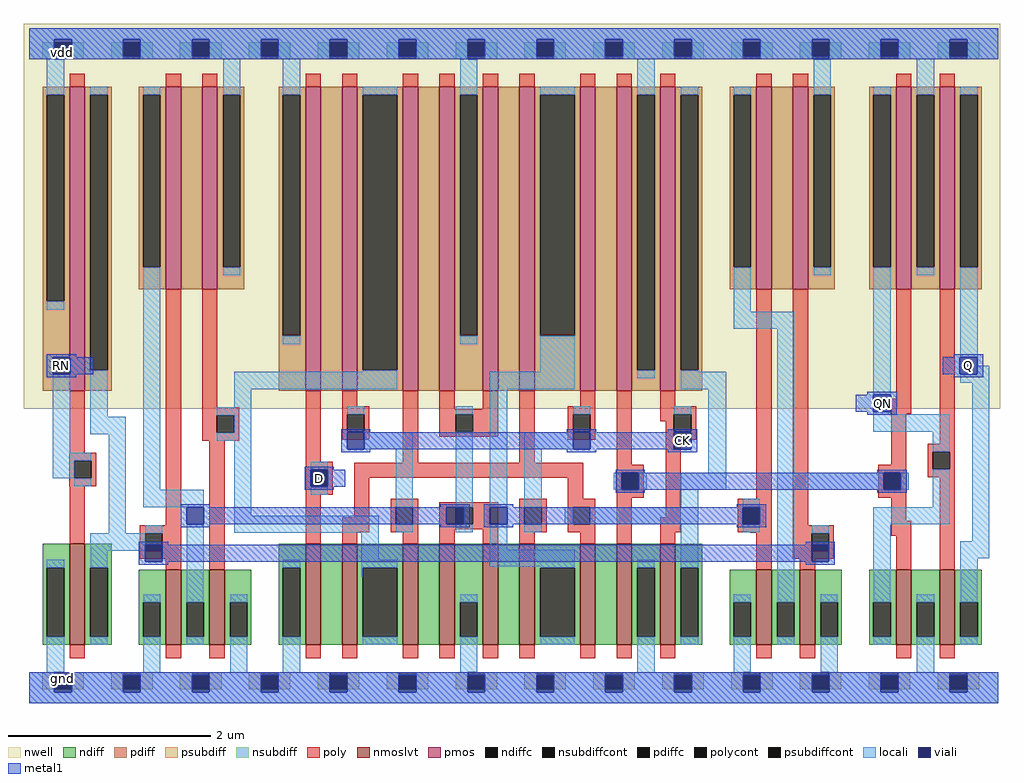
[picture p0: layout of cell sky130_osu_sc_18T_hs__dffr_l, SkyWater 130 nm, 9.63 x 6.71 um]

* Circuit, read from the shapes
.subckt sky130_osu_sc_18T_hs__dffr_l RN D CK Q QN
XM1 n1 RN gnd gnd sky130_fd_pr__nfet_01v8_lvt w=1 l=0.15
XM2 n2 n1 gnd gnd sky130_fd_pr__nfet_01v8_lvt w=0.74 l=0.15
XM3 gnd n3 n2 gnd sky130_fd_pr__nfet_01v8_lvt w=0.74 l=0.15
XM4 n4 D gnd gnd sky130_fd_pr__nfet_01v8_lvt w=1 l=0.15
XM5 n3 n5 n4 gnd sky130_fd_pr__nfet_01v8_lvt w=1 l=0.15
XM6 n6 CK n3 gnd sky130_fd_pr__nfet_01v8_lvt w=1 l=0.15
XM7 gnd n2 n6 gnd sky130_fd_pr__nfet_01v8_lvt w=1 l=0.15
XM8 n7 n2 gnd gnd sky130_fd_pr__nfet_01v8_lvt w=1 l=0.15
XM9 n8 CK n7 gnd sky130_fd_pr__nfet_01v8_lvt w=1 l=0.15
XM10 n9 n5 n8 gnd sky130_fd_pr__nfet_01v8_lvt w=1 l=0.15
XM11 gnd n10 n9 gnd sky130_fd_pr__nfet_01v8_lvt w=1 l=0.15
XM12 n5 CK gnd gnd sky130_fd_pr__nfet_01v8_lvt w=1 l=0.15
XM13 n10 n8 gnd gnd sky130_fd_pr__nfet_01v8_lvt w=0.74 l=0.15
XM14 gnd n1 n10 gnd sky130_fd_pr__nfet_01v8_lvt w=0.74 l=0.15
XM15 gnd n10 QN gnd sky130_fd_pr__nfet_01v8_lvt w=0.74 l=0.15
XM16 Q QN gnd gnd sky130_fd_pr__nfet_01v8_lvt w=0.74 l=0.15
XM17 n1 RN vdd vdd sky130_fd_pr__pfet_01v8 w=3 l=0.15
XM18 n11 n1 n2 vdd sky130_fd_pr__pfet_01v8 w=2 l=0.15
XM19 vdd n3 n11 vdd sky130_fd_pr__pfet_01v8 w=2 l=0.15
XM20 n12 D vdd vdd sky130_fd_pr__pfet_01v8 w=3 l=0.15
XM21 n3 CK n12 vdd sky130_fd_pr__pfet_01v8 w=3 l=0.15
XM22 n13 n5 n3 vdd sky130_fd_pr__pfet_01v8 w=3 l=0.15
XM23 vdd n2 n13 vdd sky130_fd_pr__pfet_01v8 w=3 l=0.15
XM24 n14 n2 vdd vdd sky130_fd_pr__pfet_01v8 w=3 l=0.15
XM25 n8 n5 n14 vdd sky130_fd_pr__pfet_01v8 w=3 l=0.15
XM26 n15 CK n8 vdd sky130_fd_pr__pfet_01v8 w=3 l=0.15
XM27 vdd n10 n15 vdd sky130_fd_pr__pfet_01v8 w=3 l=0.15
XM28 n5 CK vdd vdd sky130_fd_pr__pfet_01v8 w=3 l=0.15
XM29 n16 n8 n10 vdd sky130_fd_pr__pfet_01v8 w=2 l=0.15
XM30 vdd n1 n16 vdd sky130_fd_pr__pfet_01v8 w=2 l=0.15
XM31 vdd n10 QN vdd sky130_fd_pr__pfet_01v8 w=2 l=0.15
XM32 Q QN vdd vdd sky130_fd_pr__pfet_01v8 w=2 l=0.15
.ends

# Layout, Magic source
magic
tech sky130A
magscale 1 2
<< nwell >>
rect -10 581 1917 1341
<< pmos >>
rect 80 617 110 1217
rect 270 817 300 1217
rect 342 817 372 1217
rect 546 617 576 1217
rect 618 617 648 1217
rect 738 617 768 1217
rect 810 617 840 1217
rect 896 617 926 1217
rect 968 617 998 1217
rect 1088 617 1118 1217
rect 1160 617 1190 1217
rect 1246 617 1276 1217
rect 1436 817 1466 1217
rect 1508 817 1538 1217
rect 1712 817 1742 1217
rect 1798 817 1828 1217
<< nmoslvt >>
rect 80 115 110 315
rect 270 115 300 263
rect 356 115 386 263
rect 546 115 576 315
rect 618 115 648 315
rect 738 115 768 315
rect 810 115 840 315
rect 896 115 926 315
rect 968 115 998 315
rect 1088 115 1118 315
rect 1160 115 1190 315
rect 1246 115 1276 315
rect 1436 115 1466 263
rect 1522 115 1552 263
rect 1712 115 1742 263
rect 1798 115 1828 263
<< ndiff >>
rect 27 267 80 315
rect 27 131 35 267
rect 69 131 80 267
rect 27 115 80 131
rect 110 267 163 315
rect 110 131 121 267
rect 155 131 163 267
rect 493 267 546 315
rect 110 115 163 131
rect 217 199 270 263
rect 217 131 225 199
rect 259 131 270 199
rect 217 115 270 131
rect 300 199 356 263
rect 300 131 311 199
rect 345 131 356 199
rect 300 115 356 131
rect 386 199 439 263
rect 386 131 397 199
rect 431 131 439 199
rect 386 115 439 131
rect 493 131 501 267
rect 535 131 546 267
rect 493 115 546 131
rect 576 115 618 315
rect 648 267 738 315
rect 648 131 659 267
rect 727 131 738 267
rect 648 115 738 131
rect 768 115 810 315
rect 840 199 896 315
rect 840 131 851 199
rect 885 131 896 199
rect 840 115 896 131
rect 926 115 968 315
rect 998 267 1088 315
rect 998 131 1009 267
rect 1077 131 1088 267
rect 998 115 1088 131
rect 1118 115 1160 315
rect 1190 267 1246 315
rect 1190 131 1201 267
rect 1235 131 1246 267
rect 1190 115 1246 131
rect 1276 267 1329 315
rect 1276 131 1287 267
rect 1321 131 1329 267
rect 1276 115 1329 131
rect 1383 199 1436 263
rect 1383 131 1391 199
rect 1425 131 1436 199
rect 1383 115 1436 131
rect 1466 199 1522 263
rect 1466 131 1477 199
rect 1511 131 1522 199
rect 1466 115 1522 131
rect 1552 199 1605 263
rect 1552 131 1563 199
rect 1597 131 1605 199
rect 1552 115 1605 131
rect 1659 199 1712 263
rect 1659 131 1667 199
rect 1701 131 1712 199
rect 1659 115 1712 131
rect 1742 199 1798 263
rect 1742 131 1753 199
rect 1787 131 1798 199
rect 1742 115 1798 131
rect 1828 199 1881 263
rect 1828 131 1839 199
rect 1873 131 1881 199
rect 1828 115 1881 131
<< pdiff >>
rect 27 1201 80 1217
rect 27 793 35 1201
rect 69 793 80 1201
rect 27 617 80 793
rect 110 1201 163 1217
rect 110 657 121 1201
rect 155 657 163 1201
rect 217 1201 270 1217
rect 217 861 225 1201
rect 259 861 270 1201
rect 217 817 270 861
rect 300 817 342 1217
rect 372 1201 425 1217
rect 372 861 383 1201
rect 417 861 425 1201
rect 372 817 425 861
rect 493 1201 546 1217
rect 110 617 163 657
rect 493 725 501 1201
rect 535 725 546 1201
rect 493 617 546 725
rect 576 617 618 1217
rect 648 1201 738 1217
rect 648 657 659 1201
rect 727 657 738 1201
rect 648 617 738 657
rect 768 617 810 1217
rect 840 1201 896 1217
rect 840 725 851 1201
rect 885 725 896 1201
rect 840 617 896 725
rect 926 617 968 1217
rect 998 1201 1088 1217
rect 998 725 1009 1201
rect 1077 725 1088 1201
rect 998 617 1088 725
rect 1118 617 1160 1217
rect 1190 1201 1246 1217
rect 1190 657 1201 1201
rect 1235 657 1246 1201
rect 1190 617 1246 657
rect 1276 1201 1329 1217
rect 1276 657 1287 1201
rect 1321 657 1329 1201
rect 1383 1201 1436 1217
rect 1383 861 1391 1201
rect 1425 861 1436 1201
rect 1383 817 1436 861
rect 1466 817 1508 1217
rect 1538 1201 1591 1217
rect 1538 861 1549 1201
rect 1583 861 1591 1201
rect 1538 817 1591 861
rect 1659 1201 1712 1217
rect 1659 861 1667 1201
rect 1701 861 1712 1201
rect 1659 817 1712 861
rect 1742 1201 1798 1217
rect 1742 861 1753 1201
rect 1787 861 1798 1201
rect 1742 817 1798 861
rect 1828 1201 1881 1217
rect 1828 861 1839 1201
rect 1873 861 1881 1201
rect 1828 817 1881 861
rect 1276 617 1329 657
<< ndiffc >>
rect 35 131 69 267
rect 121 131 155 267
rect 225 131 259 199
rect 311 131 345 199
rect 397 131 431 199
rect 501 131 535 267
rect 659 131 727 267
rect 851 131 885 199
rect 1009 131 1077 267
rect 1201 131 1235 267
rect 1287 131 1321 267
rect 1391 131 1425 199
rect 1477 131 1511 199
rect 1563 131 1597 199
rect 1667 131 1701 199
rect 1753 131 1787 199
rect 1839 131 1873 199
<< pdiffc >>
rect 35 793 69 1201
rect 121 657 155 1201
rect 225 861 259 1201
rect 383 861 417 1201
rect 501 725 535 1201
rect 659 657 727 1201
rect 851 725 885 1201
rect 1009 725 1077 1201
rect 1201 657 1235 1201
rect 1287 657 1321 1201
rect 1391 861 1425 1201
rect 1549 861 1583 1201
rect 1667 861 1701 1201
rect 1753 861 1787 1201
rect 1839 861 1873 1201
<< psubdiff >>
rect 26 27 50 61
rect 84 27 108 61
rect 162 27 186 61
rect 220 27 244 61
rect 298 27 322 61
rect 356 27 380 61
rect 434 27 458 61
rect 492 27 516 61
rect 570 27 594 61
rect 628 27 652 61
rect 706 27 730 61
rect 764 27 788 61
rect 842 27 866 61
rect 900 27 924 61
rect 978 27 1002 61
rect 1036 27 1060 61
rect 1114 27 1138 61
rect 1172 27 1196 61
rect 1250 27 1274 61
rect 1308 27 1332 61
rect 1386 27 1410 61
rect 1444 27 1468 61
rect 1522 27 1546 61
rect 1580 27 1604 61
rect 1658 27 1682 61
rect 1716 27 1740 61
rect 1794 27 1818 61
rect 1852 27 1876 61
<< nsubdiff >>
rect 26 1271 50 1305
rect 84 1271 108 1305
rect 162 1271 186 1305
rect 220 1271 244 1305
rect 298 1271 322 1305
rect 356 1271 380 1305
rect 434 1271 458 1305
rect 492 1271 516 1305
rect 570 1271 594 1305
rect 628 1271 652 1305
rect 706 1271 730 1305
rect 764 1271 788 1305
rect 842 1271 866 1305
rect 900 1271 924 1305
rect 978 1271 1002 1305
rect 1036 1271 1060 1305
rect 1114 1271 1138 1305
rect 1172 1271 1196 1305
rect 1250 1271 1274 1305
rect 1308 1271 1332 1305
rect 1386 1271 1410 1305
rect 1444 1271 1468 1305
rect 1522 1271 1546 1305
rect 1580 1271 1604 1305
rect 1658 1271 1682 1305
rect 1716 1271 1740 1305
rect 1794 1271 1818 1305
rect 1852 1271 1876 1305
<< psubdiffcont >>
rect 50 27 84 61
rect 186 27 220 61
rect 322 27 356 61
rect 458 27 492 61
rect 594 27 628 61
rect 730 27 764 61
rect 866 27 900 61
rect 1002 27 1036 61
rect 1138 27 1172 61
rect 1274 27 1308 61
rect 1410 27 1444 61
rect 1546 27 1580 61
rect 1682 27 1716 61
rect 1818 27 1852 61
<< nsubdiffcont >>
rect 50 1271 84 1305
rect 186 1271 220 1305
rect 322 1271 356 1305
rect 458 1271 492 1305
rect 594 1271 628 1305
rect 730 1271 764 1305
rect 866 1271 900 1305
rect 1002 1271 1036 1305
rect 1138 1271 1172 1305
rect 1274 1271 1308 1305
rect 1410 1271 1444 1305
rect 1546 1271 1580 1305
rect 1682 1271 1716 1305
rect 1818 1271 1852 1305
<< poly >>
rect 80 1217 110 1243
rect 270 1217 300 1243
rect 342 1217 372 1243
rect 546 1217 576 1243
rect 618 1217 648 1243
rect 738 1217 768 1243
rect 810 1217 840 1243
rect 896 1217 926 1243
rect 968 1217 998 1243
rect 1088 1217 1118 1243
rect 1160 1217 1190 1243
rect 1246 1217 1276 1243
rect 1436 1217 1466 1243
rect 1508 1217 1538 1243
rect 1712 1217 1742 1243
rect 1798 1217 1828 1243
rect 80 494 110 617
rect 79 478 133 494
rect 79 444 89 478
rect 123 444 133 478
rect 79 428 133 444
rect 79 427 110 428
rect 80 315 110 427
rect 270 351 300 817
rect 342 584 372 817
rect 342 568 415 584
rect 342 534 371 568
rect 405 534 415 568
rect 342 518 415 534
rect 219 335 300 351
rect 219 301 229 335
rect 263 301 300 335
rect 219 285 300 301
rect 270 263 300 285
rect 356 263 386 518
rect 546 477 576 617
rect 618 586 648 617
rect 618 570 672 586
rect 618 536 628 570
rect 662 536 672 570
rect 618 520 672 536
rect 546 461 600 477
rect 738 475 768 617
rect 810 580 840 617
rect 896 580 926 617
rect 810 570 926 580
rect 810 536 842 570
rect 876 536 926 570
rect 810 526 926 536
rect 968 475 998 617
rect 1088 586 1118 617
rect 1064 570 1118 586
rect 1064 536 1074 570
rect 1108 536 1118 570
rect 1064 520 1118 536
rect 546 427 556 461
rect 590 427 600 461
rect 546 411 600 427
rect 642 445 1094 475
rect 546 315 576 411
rect 642 367 672 445
rect 1064 403 1094 445
rect 1160 471 1190 617
rect 1246 586 1276 617
rect 1246 570 1317 586
rect 1246 556 1273 570
rect 1257 536 1273 556
rect 1307 536 1317 570
rect 1257 520 1317 536
rect 1160 455 1214 471
rect 1160 421 1170 455
rect 1204 421 1214 455
rect 1160 405 1214 421
rect 618 337 672 367
rect 714 387 768 403
rect 714 353 724 387
rect 758 353 768 387
rect 714 337 768 353
rect 618 315 648 337
rect 738 315 768 337
rect 810 387 926 397
rect 810 353 842 387
rect 876 353 926 387
rect 810 343 926 353
rect 810 315 840 343
rect 896 315 926 343
rect 968 387 1022 403
rect 968 353 978 387
rect 1012 353 1022 387
rect 968 337 1022 353
rect 1064 387 1118 403
rect 1064 353 1074 387
rect 1108 353 1118 387
rect 1064 337 1118 353
rect 968 315 998 337
rect 1088 315 1118 337
rect 1160 315 1190 405
rect 1257 367 1287 520
rect 1436 403 1466 817
rect 1246 337 1287 367
rect 1399 387 1466 403
rect 1399 353 1409 387
rect 1443 353 1466 387
rect 1399 337 1466 353
rect 1246 315 1276 337
rect 1423 336 1466 337
rect 1436 263 1466 336
rect 1508 351 1538 817
rect 1712 601 1742 817
rect 1702 571 1742 601
rect 1702 471 1732 571
rect 1798 512 1828 817
rect 1677 455 1732 471
rect 1677 421 1687 455
rect 1721 421 1732 455
rect 1774 496 1828 512
rect 1774 462 1784 496
rect 1818 462 1828 496
rect 1774 446 1828 462
rect 1677 405 1732 421
rect 1702 360 1732 405
rect 1508 335 1589 351
rect 1508 301 1545 335
rect 1579 301 1589 335
rect 1702 330 1742 360
rect 1508 285 1589 301
rect 1522 263 1552 285
rect 1712 263 1742 330
rect 1798 263 1828 446
rect 80 89 110 115
rect 270 89 300 115
rect 356 89 386 115
rect 546 89 576 115
rect 618 89 648 115
rect 738 89 768 115
rect 810 89 840 115
rect 896 89 926 115
rect 968 89 998 115
rect 1088 89 1118 115
rect 1160 89 1190 115
rect 1246 89 1276 115
rect 1436 89 1466 115
rect 1522 89 1552 115
rect 1712 89 1742 115
rect 1798 89 1828 115
<< polycont >>
rect 89 444 123 478
rect 371 534 405 568
rect 229 301 263 335
rect 628 536 662 570
rect 842 536 876 570
rect 1074 536 1108 570
rect 556 427 590 461
rect 1273 536 1307 570
rect 1170 421 1204 455
rect 724 353 758 387
rect 842 353 876 387
rect 978 353 1012 387
rect 1074 353 1108 387
rect 1409 353 1443 387
rect 1687 421 1721 455
rect 1784 462 1818 496
rect 1545 301 1579 335
<< locali >>
rect 0 1311 1914 1332
rect 0 1271 50 1311
rect 84 1271 186 1311
rect 220 1271 322 1311
rect 356 1271 458 1311
rect 492 1271 594 1311
rect 628 1271 730 1311
rect 764 1271 866 1311
rect 900 1271 1002 1311
rect 1036 1271 1138 1311
rect 1172 1271 1274 1311
rect 1308 1271 1410 1311
rect 1444 1271 1546 1311
rect 1580 1271 1682 1311
rect 1716 1271 1818 1311
rect 1852 1271 1914 1311
rect 35 1201 69 1271
rect 35 777 69 793
rect 121 1201 155 1217
rect 47 494 81 649
rect 121 565 155 657
rect 225 1201 259 1217
rect 121 531 191 565
rect 47 478 123 494
rect 47 444 89 478
rect 89 428 123 444
rect 157 335 191 531
rect 225 421 259 861
rect 383 1201 417 1271
rect 383 845 417 861
rect 501 1201 535 1271
rect 501 709 535 725
rect 659 1201 727 1217
rect 851 1201 885 1271
rect 851 709 885 725
rect 1009 1201 1077 1217
rect 659 654 727 657
rect 1009 654 1077 725
rect 405 620 727 654
rect 910 620 1077 654
rect 1201 1201 1235 1271
rect 1201 641 1235 657
rect 1287 1201 1321 1217
rect 1391 1201 1425 1217
rect 1391 773 1425 861
rect 1549 1201 1583 1271
rect 1549 845 1583 861
rect 1667 1201 1701 1217
rect 1391 739 1511 773
rect 1287 654 1321 657
rect 1287 620 1377 654
rect 405 584 439 620
rect 371 568 439 584
rect 405 534 439 568
rect 371 518 439 534
rect 225 387 345 421
rect 229 335 263 351
rect 121 301 229 335
rect 35 267 69 283
rect 35 61 69 131
rect 121 267 155 301
rect 121 115 155 131
rect 225 199 259 215
rect 225 61 259 131
rect 311 199 345 353
rect 405 370 439 518
rect 628 570 662 586
rect 628 535 662 536
rect 842 570 876 586
rect 662 501 758 535
rect 556 461 590 477
rect 556 411 590 427
rect 724 387 758 501
rect 842 387 876 536
rect 405 336 690 370
rect 724 337 758 353
rect 842 337 876 353
rect 910 387 944 620
rect 1074 570 1108 586
rect 1074 535 1108 536
rect 656 283 690 336
rect 910 303 944 353
rect 978 501 1074 535
rect 1273 570 1307 586
rect 1273 535 1307 536
rect 978 387 1012 501
rect 1341 455 1377 620
rect 1154 421 1170 455
rect 1204 421 1220 455
rect 1287 421 1377 455
rect 1477 455 1511 739
rect 1667 609 1701 861
rect 1753 1201 1787 1271
rect 1753 845 1787 861
rect 1839 1201 1873 1217
rect 1839 683 1873 861
rect 1872 666 1873 683
rect 1872 649 1896 666
rect 1839 632 1896 649
rect 1667 570 1701 575
rect 1667 536 1818 570
rect 1784 496 1818 536
rect 1477 421 1687 455
rect 1721 421 1737 455
rect 1287 387 1321 421
rect 1058 353 1074 387
rect 1108 353 1321 387
rect 978 337 1012 353
rect 501 267 535 283
rect 311 115 345 131
rect 397 199 431 215
rect 397 61 431 131
rect 656 267 727 283
rect 910 269 1077 303
rect 656 249 659 267
rect 501 61 535 131
rect 1009 267 1077 269
rect 659 115 727 131
rect 851 199 885 215
rect 851 61 885 131
rect 1009 115 1077 131
rect 1201 267 1235 283
rect 1201 61 1235 131
rect 1287 267 1321 353
rect 1409 387 1443 403
rect 1409 337 1443 353
rect 1287 115 1321 131
rect 1391 199 1425 215
rect 1391 61 1425 131
rect 1477 199 1511 421
rect 1784 387 1818 462
rect 1667 353 1818 387
rect 1545 335 1579 351
rect 1477 115 1511 131
rect 1563 199 1597 215
rect 1563 61 1597 131
rect 1667 199 1701 353
rect 1862 320 1896 632
rect 1839 286 1896 320
rect 1667 115 1701 131
rect 1753 199 1787 215
rect 1753 61 1787 131
rect 1839 199 1873 286
rect 1839 115 1873 131
rect 0 21 50 61
rect 84 21 186 61
rect 220 21 322 61
rect 356 21 458 61
rect 492 21 594 61
rect 628 21 730 61
rect 764 21 866 61
rect 900 21 1002 61
rect 1036 21 1138 61
rect 1172 21 1274 61
rect 1308 21 1410 61
rect 1444 21 1546 61
rect 1580 21 1682 61
rect 1716 21 1818 61
rect 1852 21 1914 61
rect 0 0 1914 21
<< viali >>
rect 50 1305 84 1311
rect 50 1277 84 1305
rect 186 1305 220 1311
rect 186 1277 220 1305
rect 322 1305 356 1311
rect 322 1277 356 1305
rect 458 1305 492 1311
rect 458 1277 492 1305
rect 594 1305 628 1311
rect 594 1277 628 1305
rect 730 1305 764 1311
rect 730 1277 764 1305
rect 866 1305 900 1311
rect 866 1277 900 1305
rect 1002 1305 1036 1311
rect 1002 1277 1036 1305
rect 1138 1305 1172 1311
rect 1138 1277 1172 1305
rect 1274 1305 1308 1311
rect 1274 1277 1308 1305
rect 1410 1305 1444 1311
rect 1410 1277 1444 1305
rect 1546 1305 1580 1311
rect 1546 1277 1580 1305
rect 1682 1305 1716 1311
rect 1682 1277 1716 1305
rect 1818 1305 1852 1311
rect 1818 1277 1852 1305
rect 47 649 81 683
rect 311 353 345 387
rect 229 301 263 313
rect 229 279 263 301
rect 628 501 662 535
rect 556 427 590 461
rect 824 353 842 387
rect 842 353 858 387
rect 910 353 944 387
rect 1074 501 1108 535
rect 1273 501 1307 535
rect 1170 421 1204 455
rect 1838 649 1872 683
rect 1667 575 1701 609
rect 1687 421 1721 455
rect 1409 353 1443 387
rect 1545 301 1579 313
rect 1545 279 1579 301
rect 50 27 84 55
rect 50 21 84 27
rect 186 27 220 55
rect 186 21 220 27
rect 322 27 356 55
rect 322 21 356 27
rect 458 27 492 55
rect 458 21 492 27
rect 594 27 628 55
rect 594 21 628 27
rect 730 27 764 55
rect 730 21 764 27
rect 866 27 900 55
rect 866 21 900 27
rect 1002 27 1036 55
rect 1002 21 1036 27
rect 1138 27 1172 55
rect 1138 21 1172 27
rect 1274 27 1308 55
rect 1274 21 1308 27
rect 1410 27 1444 55
rect 1410 21 1444 27
rect 1546 27 1580 55
rect 1546 21 1580 27
rect 1682 27 1716 55
rect 1682 21 1716 27
rect 1818 27 1852 55
rect 1818 21 1852 27
<< metal1 >>
rect 0 1311 1914 1332
rect 0 1277 50 1311
rect 84 1277 186 1311
rect 220 1277 322 1311
rect 356 1277 458 1311
rect 492 1277 594 1311
rect 628 1277 730 1311
rect 764 1277 866 1311
rect 900 1277 1002 1311
rect 1036 1277 1138 1311
rect 1172 1277 1274 1311
rect 1308 1277 1410 1311
rect 1444 1277 1546 1311
rect 1580 1277 1682 1311
rect 1716 1277 1818 1311
rect 1852 1277 1914 1311
rect 0 1271 1914 1277
rect 35 683 93 689
rect 1826 683 1884 689
rect 35 649 47 683
rect 81 649 127 683
rect 1804 649 1838 683
rect 1872 649 1884 683
rect 35 643 93 649
rect 1826 643 1884 649
rect 1655 609 1713 615
rect 1632 575 1667 609
rect 1701 575 1713 609
rect 1655 569 1713 575
rect 616 535 674 541
rect 1062 535 1120 541
rect 1261 535 1319 541
rect 616 501 628 535
rect 662 501 1074 535
rect 1108 501 1273 535
rect 1307 501 1319 535
rect 616 495 674 501
rect 1062 495 1120 501
rect 1261 495 1319 501
rect 544 461 602 467
rect 544 427 556 461
rect 590 427 624 461
rect 1158 455 1216 461
rect 1675 455 1733 461
rect 544 421 602 427
rect 1158 421 1170 455
rect 1204 421 1687 455
rect 1721 421 1733 455
rect 1158 415 1216 421
rect 1675 415 1733 421
rect 299 387 357 393
rect 812 387 870 393
rect 299 353 311 387
rect 345 353 824 387
rect 858 353 870 387
rect 299 347 357 353
rect 812 347 870 353
rect 898 387 956 393
rect 1397 387 1455 393
rect 898 353 910 387
rect 944 353 1409 387
rect 1443 353 1455 387
rect 898 347 956 353
rect 1397 347 1455 353
rect 217 313 275 319
rect 1533 313 1591 319
rect 217 279 229 313
rect 263 279 1545 313
rect 1579 279 1591 313
rect 217 273 275 279
rect 1533 273 1591 279
rect 0 55 1914 61
rect 0 21 50 55
rect 84 21 186 55
rect 220 21 322 55
rect 356 21 458 55
rect 492 21 594 55
rect 628 21 730 55
rect 764 21 866 55
rect 900 21 1002 55
rect 1036 21 1138 55
rect 1172 21 1274 55
rect 1308 21 1410 55
rect 1444 21 1546 55
rect 1580 21 1682 55
rect 1716 21 1818 55
rect 1852 21 1914 55
rect 0 0 1914 21
<< labels >>
rlabel metal1 65 666 65 666 1 RN
port 1 n
rlabel metal1 573 444 573 444 1 D
port 2 n
rlabel metal1 1290 518 1290 518 1 CK
port 3 n
rlabel metal1 1855 666 1855 666 1 Q
port 4 n
rlabel metal1 1685 592 1685 592 1 QN
port 5 n
rlabel viali 67 48 67 48 1 gnd
rlabel viali 67 1284 67 1284 1 vdd
<< end >>
